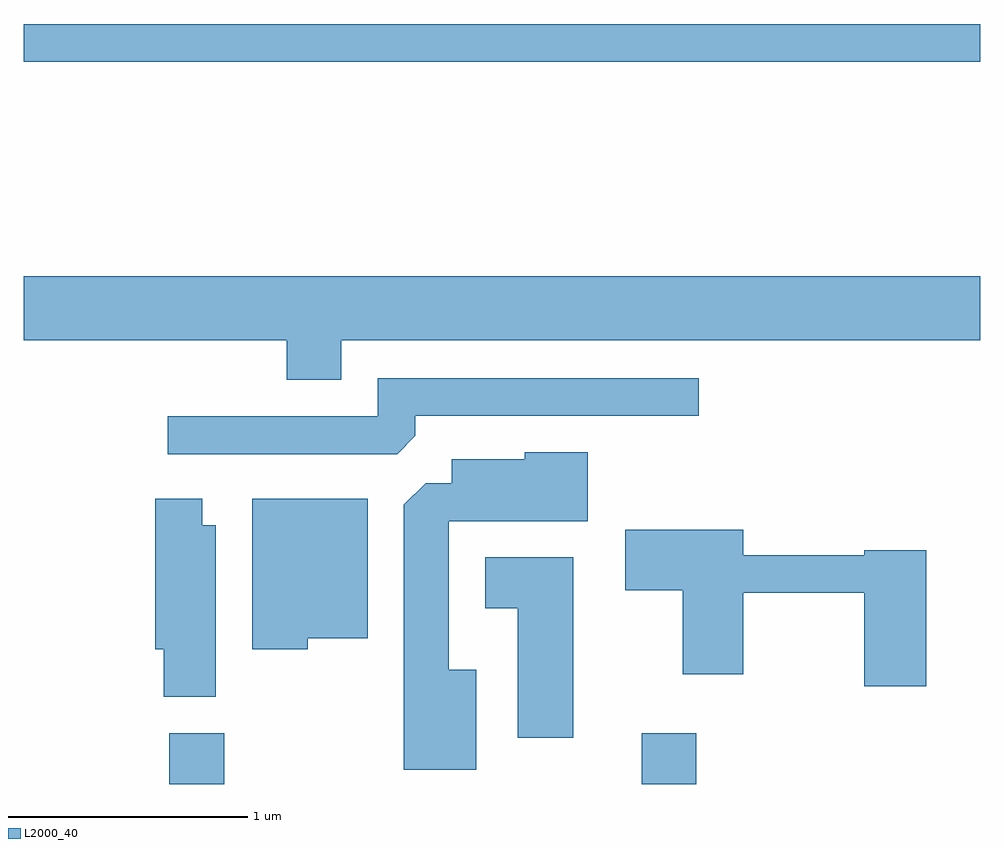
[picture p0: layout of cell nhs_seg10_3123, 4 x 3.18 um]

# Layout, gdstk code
import gdstk
lib = gdstk.Library(unit=1e-6, precision=1e-09)
def R(c, l, rs):  # rectangles x0, y0, x1, y1
    for r in rs: c.add(gdstk.rectangle(r[:2], r[2:], *l))
def P(c, l, *ps):  # polygons
    for p in ps: c.add(gdstk.Polygon(p, *l))
L2000_40 = (2000, 40)

nhs_seg10_3123 = lib.new_cell('nhs_seg10_3123')
R(nhs_seg10_3123, L2000_40, [(278.221,2096.522,278.449,2096.734), (280.196,2096.522,280.424,2096.734), (277.611,2099.541,281.611,2099.699)])
P(nhs_seg10_3123, L2000_40, [(278.939,2098.376),(281.611,2098.376),(281.611,2098.644),(277.611,2098.644),(277.611,2098.376),(278.711,2098.376),(278.711,2098.211),(278.939,2098.211)],
  [(279.249,2097.977),(279.249,2098.061),(280.433,2098.061),(280.433,2098.219),(279.091,2098.219),(279.091,2098.059),(278.213,2098.059),(278.213,2097.901),(279.174,2097.901)],
  [(279.504,2096.999),(279.389,2096.999),(279.389,2097.621),(279.969,2097.621),(279.969,2097.909),(279.706,2097.909),(279.706,2097.879),(279.401,2097.879),(279.401,2097.779),(279.292,2097.779),(279.201,2097.689),(279.201,2096.581),(279.504,2096.581)],
  [(278.414,2097.604),(278.359,2097.604),(278.359,2097.714),(278.161,2097.714),(278.161,2097.086),(278.196,2097.086),(278.196,2096.886),(278.414,2096.886)],
  [(278.799,2097.131),(279.049,2097.131),(279.049,2097.714),(278.566,2097.714),(278.566,2097.086),(278.799,2097.086)],
  [(281.384,2097.499),(281.126,2097.499),(281.126,2097.479),(280.619,2097.479),(280.619,2097.584),(280.126,2097.584),(280.126,2097.331),(280.366,2097.331),(280.366,2096.981),(280.619,2096.981),(280.619,2097.321),(281.126,2097.321),(281.126,2096.931),(281.384,2096.931)],
  [(279.909,2097.469),(279.541,2097.469),(279.541,2097.256),(279.676,2097.256),(279.676,2096.716),(279.909,2096.716)])

lib.write_gds('nhs_seg10_3123.gds')
